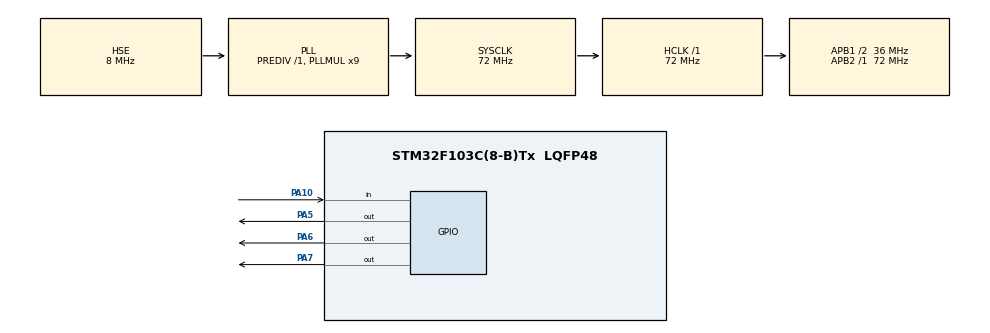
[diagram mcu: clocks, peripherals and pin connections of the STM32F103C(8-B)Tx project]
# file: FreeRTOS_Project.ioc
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Mcu.Family=STM32F1
Mcu.Name=STM32F103C(8-B)Tx
Mcu.Package=LQFP48
NVIC.PriorityGroup=NVIC_PRIORITYGROUP_4
NVIC.TIM2_IRQn=true\:15\:0\:false\:false\:true\:false\:true\:true
NVIC.TimeBase=TIM2_IRQn
NVIC.TimeBaseIP=TIM2
PA10.GPIO_PuPd=GPIO_PULLDOWN
PA10.Signal=GPIO_Input
PA2.Signal=USART2_TX
PA3.Signal=USART2_RX
PA5.GPIO_PuPd=GPIO_PULLDOWN
PA5.Signal=GPIO_Output
PA6.GPIO_PuPd=GPIO_PULLDOWN
PA6.Signal=GPIO_Output
PA7.GPIO_PuPd=GPIO_PULLDOWN
PA7.Signal=GPIO_Output
PD0-OSC_IN.Mode=HSE-External-Oscillator
PD0-OSC_IN.Signal=RCC_OSC_IN
PD1-OSC_OUT.Mode=HSE-External-Oscillator
PD1-OSC_OUT.Signal=RCC_OSC_OUT
ProjectManager.HeapSize=0x200
ProjectManager.StackSize=0x400
ProjectManager.TargetToolchain=STM32CubeIDE
RCC.AHBFreq_Value=72000000
RCC.APB1CLKDivider=RCC_HCLK_DIV2
RCC.APB1Freq_Value=36000000
RCC.APB1TimFreq_Value=72000000
RCC.APB2Freq_Value=72000000
RCC.APB2TimFreq_Value=72000000
RCC.HCLKFreq_Value=72000000
RCC.PLLMUL=RCC_PLL_MUL9
RCC.PLLSourceVirtual=RCC_PLLSOURCE_HSE
RCC.SYSCLKFreq_VALUE=72000000
RCC.SYSCLKSource=RCC_SYSCLKSOURCE_PLLCLK
RCC.USBFreq_Value=72000000
VP_SYS_VS_ND.Mode=No_Debug
VP_SYS_VS_tim2.Mode=TIM2
board=custom

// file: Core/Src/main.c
/* USER CODE BEGIN Header */
/**
 ******************************************************************************
 * @file           : main.c
 * @brief          : Main program body
 ******************************************************************************
 * @attention
 *
 * Copyright (c) 2022 STMicroelectronics.
 * All rights reserved.
 *
 * This software is licensed under terms that can be found in the LICENSE file
 * in the root directory of this software component.
 * If no LICENSE file comes with this software, it is provided AS-IS.
 *
 ******************************************************************************
 */
/* USER CODE END Header */
#include "main.h"

/* USER CODE BEGIN Includes */
#include "FreeRTOS.h"
#include "task.h"
#include <stdio.h>
/* USER CODE END Includes */

/* USER CODE BEGIN PM */
#define    DWT_CONTROL     *((volatile uint32_t *)0xE0001000)
#define    SCB_DEMCR         *((volatile uint32_t *)0xE000EDFC)
/* USER CODE END PM */

void SystemClock_Config(void);
static void MX_GPIO_Init(void);
/* USER CODE BEGIN PFP */
static void led_blue_handler(void * parameters);
static void led_green_handler(void * parameters);
static void led_red_handler(void * parameters);
static void button_handler(void * parameters);
extern void SEGGER_UART_init(long unsigned int);
/* USER CODE END PFP */

/* USER CODE BEGIN 0 */
TaskHandle_t nexttask=NULL;
TaskHandle_t task1_handle;
TaskHandle_t task2_handle;
TaskHandle_t task3_handle;
TaskHandle_t task4_handle;

/* USER CODE END 0 */

int main(void)
{
	/* USER CODE BEGIN 1 */
	BaseType_t status;
	/* USER CODE END 1 */

	/* MCU Configuration--------------------------------------------------------*/

	/* Reset of all peripherals, Initializes the Flash interface and the Systick. */
	HAL_Init();

	/* Configure the system clock */
	SystemClock_Config();

	/* USER CODE BEGIN SysInit */
	SEGGER_UART_init(230400);
	/* USER CODE END SysInit */

	/* Initialize all configured peripherals */
	MX_GPIO_Init();
	/* USER CODE BEGIN 2 */

	SCB_DEMCR  |= (1<<24);
	DWT_CONTROL|= (1<<0);

	SEGGER_SYSVIEW_Conf();

	status = xTaskCreate(led_blue_handler, "LED_Blue_Handler", 200, NULL, 1, &task1_handle);
	configASSERT(status==pdPASS);
	status = xTaskCreate(led_green_handler, "LED_Green_Handler", 200, NULL, 2, &task2_handle);
	configASSERT(status==pdPASS);
	status = xTaskCreate(led_red_handler, "LED_Red_Handler", 200, NULL, 3, &task3_handle);
	configASSERT(status==pdPASS);
	status = xTaskCreate(button_handler, "button_Handler", 200, NULL, 4, &task4_handle);
	configASSERT(status==pdPASS);
	nexttask=task1_handle;
	vTaskStartScheduler();
	/* USER CODE END 2 */

	/* Infinite loop */
	while (1)
	{

	}
}

void SystemClock_Config(void)
{
	RCC_OscInitTypeDef RCC_OscInitStruct = {0};
	RCC_ClkInitTypeDef RCC_ClkInitStruct = {0};

	/** Initializes the RCC Oscillators according to the specified parameters
	 * in the RCC_OscInitTypeDef structure.
	 */
	RCC_OscInitStruct.OscillatorType = RCC_OSCILLATORTYPE_HSE;
	RCC_OscInitStruct.HSEState = RCC_HSE_ON;
	RCC_OscInitStruct.HSEPredivValue = RCC_HSE_PREDIV_DIV1;
	RCC_OscInitStruct.HSIState = RCC_HSI_ON;
	RCC_OscInitStruct.PLL.PLLState = RCC_PLL_ON;
	RCC_OscInitStruct.PLL.PLLSource = RCC_PLLSOURCE_HSE;
	RCC_OscInitStruct.PLL.PLLMUL = RCC_PLL_MUL9;
	if (HAL_RCC_OscConfig(&RCC_OscInitStruct) != HAL_OK)
	{
		Error_Handler();
	}

	/** Initializes the CPU, AHB and APB buses clocks
	 */
	RCC_ClkInitStruct.ClockType = RCC_CLOCKTYPE_HCLK|RCC_CLOCKTYPE_SYSCLK
			|RCC_CLOCKTYPE_PCLK1|RCC_CLOCKTYPE_PCLK2;
	RCC_ClkInitStruct.SYSCLKSource = RCC_SYSCLKSOURCE_PLLCLK;
	RCC_ClkInitStruct.AHBCLKDivider = RCC_SYSCLK_DIV1;
	RCC_ClkInitStruct.APB1CLKDivider = RCC_HCLK_DIV2;
	RCC_ClkInitStruct.APB2CLKDivider = RCC_HCLK_DIV1;

	if (HAL_RCC_ClockConfig(&RCC_ClkInitStruct, FLASH_LATENCY_2) != HAL_OK)
	{
		Error_Handler();
	}
}

static void MX_GPIO_Init(void)
{
	GPIO_InitTypeDef GPIO_InitStruct = {0};

	/* GPIO Ports Clock Enable */
	__HAL_RCC_GPIOD_CLK_ENABLE();
	__HAL_RCC_GPIOA_CLK_ENABLE();

	/*Configure GPIO pin Output Level */
	HAL_GPIO_WritePin(GPIOA, GPIO_PIN_5|GPIO_PIN_6|GPIO_PIN_7, GPIO_PIN_RESET);

	/*Configure GPIO pin : PA2 */
	GPIO_InitStruct.Pin = GPIO_PIN_2;
	GPIO_InitStruct.Mode = GPIO_MODE_AF_PP;
	GPIO_InitStruct.Speed = GPIO_SPEED_FREQ_HIGH;
	HAL_GPIO_Init(GPIOA, &GPIO_InitStruct);

	/*Configure GPIO pin : PA3 */
	GPIO_InitStruct.Pin = GPIO_PIN_3;
	GPIO_InitStruct.Mode = GPIO_MODE_INPUT;
	GPIO_InitStruct.Pull = GPIO_NOPULL;
	HAL_GPIO_Init(GPIOA, &GPIO_InitStruct);

	/*Configure GPIO pins : PA5 PA6 PA7 */
	GPIO_InitStruct.Pin = GPIO_PIN_5|GPIO_PIN_6|GPIO_PIN_7;
	GPIO_InitStruct.Mode = GPIO_MODE_OUTPUT_PP;
	GPIO_InitStruct.Pull = GPIO_PULLDOWN;
	GPIO_InitStruct.Speed = GPIO_SPEED_FREQ_LOW;
	HAL_GPIO_Init(GPIOA, &GPIO_InitStruct);

	/*Configure GPIO pin : PA10 */
	GPIO_InitStruct.Pin = GPIO_PIN_10;
	GPIO_InitStruct.Mode = GPIO_MODE_INPUT;
	GPIO_InitStruct.Pull = GPIO_PULLDOWN;
	HAL_GPIO_Init(GPIOA, &GPIO_InitStruct);

}

/* USER CODE BEGIN 4 */
static void button_handler(void * parameters){
	uint8_t cur_state=0;
	uint8_t prev_state=0;
	while(1){
		cur_state=HAL_GPIO_ReadPin(GPIOA, GPIO_PIN_10);
		if(cur_state){
			if(!prev_state){
				if(nexttask!=NULL){
					xTaskNotify(nexttask,0,eNoAction);
				}
				else{
					vTaskResume(task1_handle);
					vTaskResume(task2_handle);
					vTaskResume(task3_handle);
					nexttask=task1_handle;
					SEGGER_SYSVIEW_PrintfTarget("resume all");

				}
			}
		}
		prev_state=cur_state;
		vTaskDelay(pdMS_TO_TICKS(10));
	}
}
static void led_blue_handler(void * parameters){
	BaseType_t status;
	while(1){
		SEGGER_SYSVIEW_PrintfTarget("blue");
		HAL_GPIO_TogglePin(GPIOA, GPIO_PIN_5);
		status=xTaskNotifyWait(0,0,NULL,pdMS_TO_TICKS(1000));
		if(status== pdTRUE){
			SEGGER_SYSVIEW_PrintfTarget("delete blue");
			HAL_GPIO_WritePin(GPIOA, GPIO_PIN_5,GPIO_PIN_SET);
			vTaskSuspendAll();
			nexttask=task2_handle;
			xTaskResumeAll();
			vTaskSuspend(task1_handle);
		}
	}
}
static void led_green_handler(void * parameters){
	BaseType_t status;
	while(1){
		SEGGER_SYSVIEW_PrintfTarget("green");
		HAL_GPIO_TogglePin(GPIOA, GPIO_PIN_6);
		status=xTaskNotifyWait(0,0,NULL,pdMS_TO_TICKS(800));
		if(status== pdTRUE){
			SEGGER_SYSVIEW_PrintfTarget("delete green");
			HAL_GPIO_WritePin(GPIOA, GPIO_PIN_6,GPIO_PIN_SET);
			vTaskSuspendAll();
			nexttask=task3_handle;
			xTaskResumeAll();
			vTaskSuspend(task2_handle);
		}
	}
}
static void led_red_handler(void * parameters){
	BaseType_t status;
	while(1){
		SEGGER_SYSVIEW_PrintfTarget("red");
		HAL_GPIO_TogglePin(GPIOA, GPIO_PIN_7);
		status=xTaskNotifyWait(0,0,NULL,pdMS_TO_TICKS(400));
		if(status== pdTRUE){
			SEGGER_SYSVIEW_PrintfTarget("delete red");
			HAL_GPIO_WritePin(GPIOA, GPIO_PIN_7,GPIO_PIN_SET);
			vTaskSuspendAll();
			nexttask=NULL;
			xTaskResumeAll();
			vTaskSuspend(task3_handle);
		}

	}
}

/* USER CODE END 4 */

void HAL_TIM_PeriodElapsedCallback(TIM_HandleTypeDef *htim)
{
	if (htim->Instance == TIM2) {
		HAL_IncTick();
	}
}

void Error_Handler(void)
{
	__disable_irq();
	while (1)
	{
	}
}
